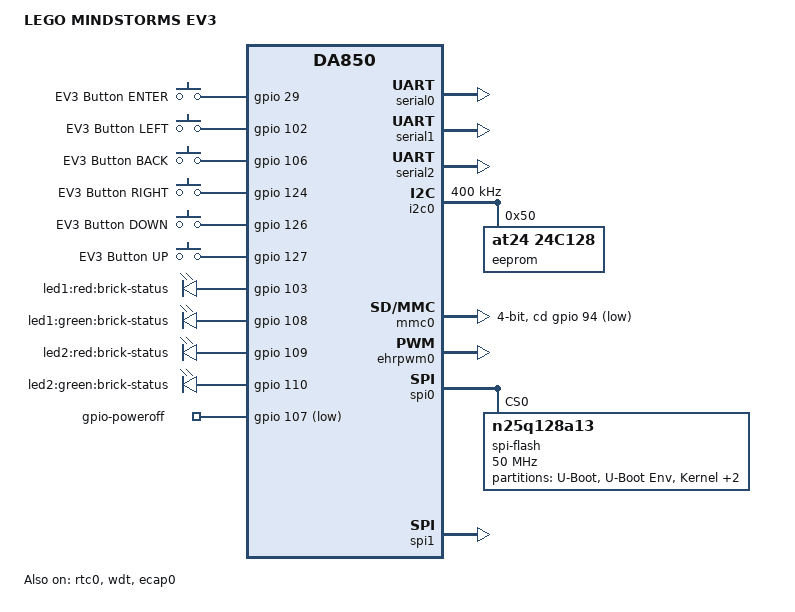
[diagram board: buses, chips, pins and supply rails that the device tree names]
/*
 * Device tree for LEGO MINDSTORMS EV3
 *
 * Copyright (C) 2016 David Lechner <david@lechnology.com>
 *
 * This program is free software; you can redistribute  it and/or modify it
 * under  the terms of  the GNU General  Public License as published by the
 * Free Software Foundation, version 2.
 */

/dts-v1/;
#include <dt-bindings/gpio/gpio.h>
#include <dt-bindings/input/linux-event-codes.h>
#include <dt-bindings/pwm/pwm.h>

#include "da850.dtsi"

/ {
	compatible = "lego,ev3", "ti,da850";
	model = "LEGO MINDSTORMS EV3";

	soc@1c00000 {
		/*
		 * (ab)using pinctrl-single to disable all internal pullups/
		 * pulldowns on I/O.
		 */
		pinmux@22c00c {
			compatible = "pinctrl-single";
			reg = <0x22c00c 0x4>;
			#address-cells = <1>;
			#size-cells = <0>;
			pinctrl-single,bit-per-mux;
			pinctrl-single,register-width = <32>;
			pinctrl-single,function-mask = <0xf>;
			/*
			 * There is a bug in pinctrl-single that prevents us
			 * from setting function-mask to 1, so doing things
			 * in groups of 4. Doesn't really matter since we are
			 * disabling all at once anyway.
			 */

			pinctrl-names = "default";
			pinctrl-0 = <&pupu_disable>;

			pupu_disable: pinmux_all_pins {
				pinctrl-single,bits = <
					0x0 0x00000000 0xffffffff
				>;
			};
		};
	};

	/*
	 * The buttons on the EV3 are mapped to keyboard keys.
	 */
	gpio_keys {
		compatible = "gpio-keys";
		#address-cells = <1>;
		#size-cells = <0>;
		label = "EV3 buttons";
		pinctrl-names = "default";
		pinctrl-0 = <&button_pins>;

		enter {
			label = "EV3 Button ENTER";
			linux,code = <KEY_ENTER>;
			gpios = <&gpio 29 GPIO_ACTIVE_HIGH>;
		};
		left {
			label = "EV3 Button LEFT";
			linux,code = <KEY_LEFT>;
			gpios = <&gpio 102 GPIO_ACTIVE_HIGH>;
		};
		back {
			label = "EV3 Button BACK";
			linux,code = <KEY_BACKSPACE>;
			gpios = <&gpio 106 GPIO_ACTIVE_HIGH>;
		};
		right {
			label = "EV3 Button RIGHT";
			linux,code = <KEY_RIGHT>;
			gpios = <&gpio 124 GPIO_ACTIVE_HIGH>;
		};
		down {
			label = "EV3 Button DOWN";
			linux,code = <KEY_DOWN>;
			gpios = <&gpio 126 GPIO_ACTIVE_HIGH>;
		};
		up {
			label = "EV3 Button UP";
			linux,code = <KEY_UP>;
			gpios = <&gpio 127 GPIO_ACTIVE_HIGH>;
		};
	};

	/*
	 * The EV3 has two built-in bi-color LEDs behind the buttons.
	 */
	leds {
		compatible = "gpio-leds";
		pinctrl-names = "default";
		pinctrl-0 = <&led_pins>;

		left_red {
			label = "led1:red:brick-status";
			/* GP6[13] */
			gpios = <&gpio 103 GPIO_ACTIVE_HIGH>;
			linux,default-trigger = "default-on";
		};
		left_green {
			label = "led1:green:brick-status";
			/* GP6[7] */
			gpios = <&gpio 108 GPIO_ACTIVE_HIGH>;
			linux,default-trigger = "default-on";
		};
		right_red {
			label = "led2:red:brick-status";
			/* GP6[12] */
			gpios = <&gpio 109 GPIO_ACTIVE_HIGH>;
			linux,default-trigger = "default-on";
		};
		right_green {
			label = "led2:green:brick-status";
			/* GP6[14] */
			gpios = <&gpio 110 GPIO_ACTIVE_HIGH>;
			linux,default-trigger = "default-on";
		};
	};

	/*
	 * The EV3 is powered down by turning off the main 5V supply.
	 */
	gpio-poweroff {
		compatible = "gpio-poweroff";
		/* low signal powers off the board */
		gpios = <&gpio 107 GPIO_ACTIVE_LOW>;
		pinctrl-names = "default";
		pinctrl-0 = <&system_power_pin>;
	};

	/*
	 * The Bluetooth chip requires a clock at 32768Hz. One of the PWMs
	 * is used to generate this signal.
	 */
	bt-slow-clock {
		status = "disabled";
		compatible = "pwm-clock";
		#clock-cells = <0>;
		clock-frequency = <32768>;
		clock-output-names = "slow_clk";
		pwms = <&ecap2 0 30517>;
	};
};

&pmx_core {
	status = "okay";

	spi0_cs3_pin: pinmux_spi0_cs3_pin {
		pinctrl-single,bits = <
			/* CS3 */
			0xc 0x01000000 0x0f000000
		>;
	};
	mmc0_cd_pin: pinmux_mmc0_cd {
		pinctrl-single,bits = <
			/* GP5[14] */
			0x2C 0x00000080 0x000000f0
		>;
	};
	button_pins: pinmux_button_pins {
		pinctrl-single,bits = <
			/* GP1[13] */
			0x8 0x00000800 0x00000f00
			/* GP6[10] */
			0x34 0x00800000 0x00f00000
			/* GP6[6] */
			0x38 0x00000080 0x000000f0
			/* GP7[12], GP7[14], GP7[15] */
			0x40 0x00808800 0x00f0ff00
		>;
	};
	led_pins: pinmux_led_pins {
		pinctrl-single,bits = <
			/* GP6[12], GP6[13], GP6[14] */
			0x34 0x00008880 0x0000fff0
			/* GP6[7] */
			0x38 0x00000008 0x0000000f
		>;
	};
	system_power_pin: pinmux_system_power {
		pinctrl-single,bits = <
			/* GP6[11] */
			0x34 0x00080000 0x000f0000
		>;
	};
	in1_pins: pinmux_in1_pins {
		pinctrl-single,bits = <
			/* GP0[15] */
			0x0 0x00000008 0x0000000f
			/* GP0[2] */
			0x4 0x00800000 0x00f00000
			/* GP2[2] */
			0x18 0x00800000 0x00f00000
			/* GP8[10], GP8[11] */
			0x48 0x88000000 0xff000000
		>;
	};
	in2_pins: pinmux_in2_pins {
		pinctrl-single,bits = <
			/* GP0[13], GP0[14] */
			0x0 0x00000880 0x00000ff0
			/* GP8[12], GP8[14], GP8[15] */
			0x48 0x00808800 0x00f0ff00
		>;
	};
	in3_pins: pinmux_in3_pins {
		pinctrl-single,bits = <
			/* GP0[12] */
			0x0 0x00008000 0x0000f000
			/* GP1[14] */
			0x8 0x00000080 0x000000f0
			/* GP7[11] */
			0x40 0x08000000 0x0f000000
			/* GP7[9] */
			0x44 0x00000008 0x0000000f
			/* GP8[9] */
			0x4c 0x00000008 0x0000000f
		>;
	};
	in4_pins: pinmux_in4_pins {
		pinctrl-single,bits = <
			/* GP0[1] */
			0x4 0x08000000 0x0f000000
			/* GP1[15] */
			0x8 0x00000008 0x0000000f
			/* GP7[10] */
			0x40 0x80000000 0xf0000000
			/* GP7[8] */
			0x44 0x00000080 0x000000f0
			/* GP6[4] */
			0x4c 0x00000800 0x00000f00
		>;
	};
	outa_pins: pinmux_outa_pins {
		pinctrl-single,bits = <
			/* GP0[4] */
			0x4 0x00008000 0x0000f000
			/* GP3[15] */
			0x1c 0x00000008 0x0000000f
			/* GP3[6] */
			0x20 0x00000080 0x000000f0
			/* GP5[11] */
			0x2c 0x00080000 0x000f0000
			/* GP5[4] */
			0x30 0x00008000 0x0000f000
		>;
	};
	outb_pins: pinmux_outb_pins {
		pinctrl-single,bits = <
			/* GP0[3] */
			0x4 0x00080000 0x000f0000
			/* GP2[9] */
			0x14 0x08000000 0x0f000000
			/* GP2[1], GP2[5] */
			0x18 0x08000800 0x0f000f00
			/* GP5[11] */
			0x2c 0x80000000 0xf0000000
		>;
	};
	outc_pins: pinmux_outc_pins {
		pinctrl-single,bits = <
			/* GP3[8], GP3[14] */
			0x1c 0x80000080 0xf00000f0
			/* GP5[9], GP5[13] */
			0x2c 0x08000800 0x0f000f00
			/* GP6[8] */
			0x34 0x80000000 0xf0000000
		>;
	};
	outd_pins: pinmux_outd_pins {
		pinctrl-single,bits = <
			/* GP2[8] */
			0x14 0x80000000 0xf0000000
			/* GP5[10], GP5[15] */
			0x2c 0x00800008 0x00f0000f
			/* GP5[3] */
			0x30 0x00080000 0x000f0000
			/* GP6[9] */
			0x34 0x08000000 0x0f000000
		>;
	};
	sound_pins: pinmux_sound_pins {
		pinctrl-single,bits = <
			/* GP6[15] */
			0x34 0x00000008 0x0000000f
		>;
	};
	usb11_pins: pinmux_usb11_pins {
		pinctrl-single,bits = <
			/* GP6[5] */
			0x40 0x00000080 0x000000f0
			/* GP6[3] */
			0x4c 0x00008000 0x0000f000
		>;
	};
};

/* Input port 2 */
&serial0 {
	status = "okay";
	pinctrl-names = "default";
	pinctrl-0 = <&serial0_rxtx_pins>;
};

/* Input port 1 */
&serial1 {
	status = "okay";
	pinctrl-names = "default";
	pinctrl-0 = <&serial1_rxtx_pins>;
};

/* Bluetooth */
&serial2 {
	status = "okay";
	pinctrl-names = "default";
	pinctrl-0 = <&serial2_rxtx_pins>, <&serial2_rtscts_pins>;
};

&rtc0 {
	status = "okay";
};

&i2c0 {
	status = "okay";
	clock-frequency = <400000>;
	pinctrl-names = "default";
	pinctrl-0 = <&i2c0_pins>;

	/*
	 * EEPROM contains the first stage bootloader, HW ID and Bluetooth MAC.
	 */
	eeprom@50 {
		compatible = "at24,24c128";
		pagesize = <64>;
		read-only;
		reg = <0x50>;
	};
};

&wdt {
	status = "okay";
};

&mmc0 {
	status = "okay";
	max-frequency = <50000000>;
	bus-width = <4>;
	cd-gpios = <&gpio 94 GPIO_ACTIVE_LOW>;
	cap-sd-highspeed;
	cap-mmc-highspeed;
	pinctrl-names = "default";
	pinctrl-0 = <&mmc0_pins>, <&mmc0_cd_pin>;
};

&ehrpwm0 {
	status = "okay";
	pinctrl-names = "default";
	/* SOUND_ARMA */
	pinctrl-0 = <&ehrpwm0b_pins>;
};

&ehrpwm1 {
	status = "disabled";
	pinctrl-names = "default";
	/* MBPWM, MAPWM */
	pinctrl-0 = <&ehrpwm1a_pins>, <&ehrpwm1b_pins>;
};

&ecap0 {
	status = "okay";
	pinctrl-names = "default";
	/* MCPWM */
	pinctrl-0 = <&ecap0_pins>;
};

&ecap1 {
	status = "disabled";
	pinctrl-names = "default";
	/* MDPWM */
	pinctrl-0 = <&ecap1_pins>;
};

&ecap2 {
	status = "disabled";
	pinctrl-names = "default";
	/* BTSLOWCLK */
	pinctrl-0 = <&ecap2_pins>;
};

&spi0 {
	status = "okay";
	pinctrl-names = "default";
	pinctrl-0 = <&spi0_pins>, <&spi0_cs0_pin>, <&spi0_cs3_pin>;
	dmas = <&edma0 14 0>, <&edma0 15 0>;
	dma-names = "rx", "tx";

	spi-flash@0 {
		#address-cells = <1>;
		#size-cells = <1>;
		compatible = "n25q128a13", "jedec,spi-nor";
		reg = <0>;
		spi-max-frequency = <50000000>;
		ti,spi-wdelay = <8>;

		partition@0 {
			label = "U-Boot";
			reg = <0 0x40000>;
		};

		partition@40000 {
			label = "U-Boot Env";
			reg = <0x40000 0x10000>;
		};

		partition@50000 {
			label = "Kernel";
			reg = <0x50000 0x200000>;
		};

		partition@250000 {
			label = "Filesystem";
			reg = <0x250000 0xa50000>;
		};

		partition@cb0000 {
			label = "Storage";
			reg = <0xcb0000 0x2f0000>;
		};
	};

	/* TODO: ADC goes here */
};

&spi1 {
	status = "okay";
	pinctrl-names = "default";
	pinctrl-0 = <&spi1_pins>, <&spi1_cs0_pin>;

	/* TODO: LCD Display goes here */
};

&gpio {
	status = "okay";
};
